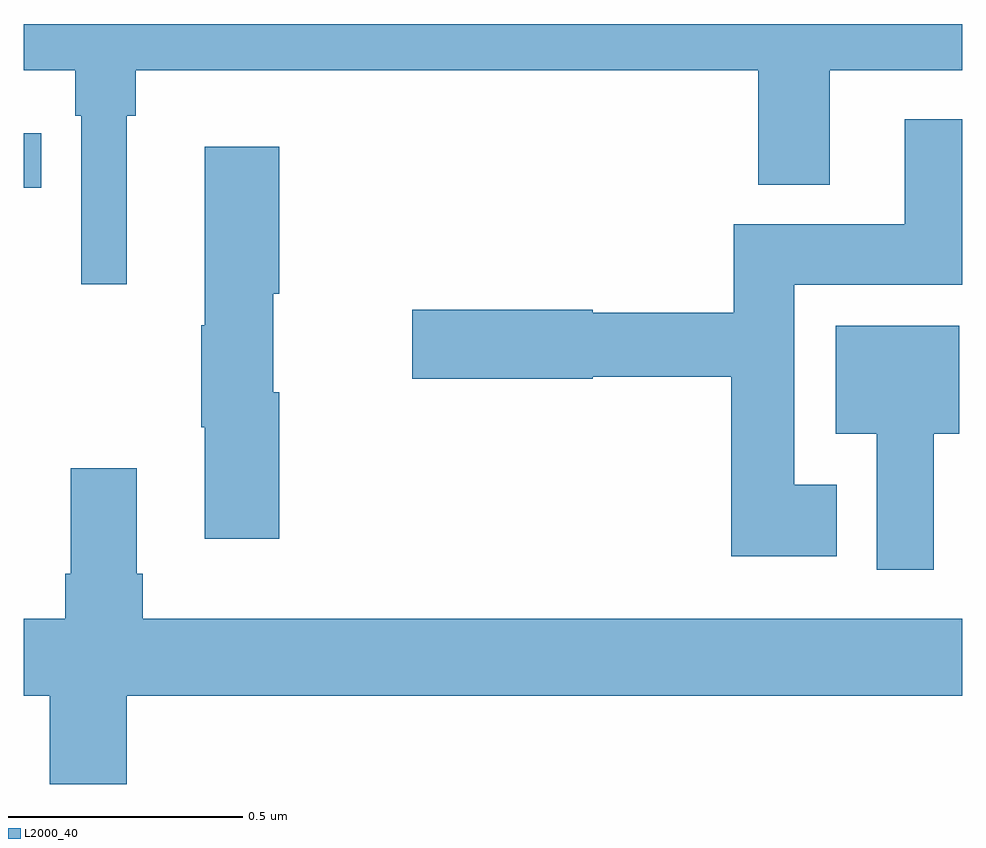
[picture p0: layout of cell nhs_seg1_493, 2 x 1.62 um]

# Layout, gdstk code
import gdstk
lib = gdstk.Library(unit=1e-6, precision=1e-09)
def R(c, l, rs):  # rectangles x0, y0, x1, y1
    for r in rs: c.add(gdstk.rectangle(r[:2], r[2:], *l))
def P(c, l, *ps):  # polygons
    for p in ps: c.add(gdstk.Polygon(p, *l))
L2000_40 = (2000, 40)

nhs_seg1_493 = lib.new_cell('nhs_seg1_493')
R(nhs_seg1_493, L2000_40, [(117,516.85,117.038,516.966)])
P(nhs_seg1_493, L2000_40, [(117.22,517.004),(117.239,517.004),(117.239,517.1),(118.565,517.1),(118.565,516.857),(118.717,516.857),(118.717,517.1),(119,517.1),(119,517.199),(117,517.199),(117,517.1),(117.11,517.1),(117.11,517.004),(117.123,517.004),(117.123,516.645),(117.22,516.645)],
  [(118.732,516.217),(118.642,516.217),(118.642,516.644),(119,516.644),(119,516.996),(118.877,516.996),(118.877,516.772),(118.513,516.772),(118.513,516.584),(118.212,516.584),(118.212,516.59),(117.828,516.59),(117.828,516.443),(118.212,516.443),(118.212,516.448),(118.508,516.448),(118.508,516.065),(118.732,516.065)],
  [(117.545,516.414),(117.532,516.414),(117.532,516.624),(117.545,516.624),(117.545,516.937),(117.386,516.937),(117.386,516.557),(117.379,516.557),(117.379,516.34),(117.386,516.34),(117.386,516.102),(117.545,516.102)],
  [(118.939,516.326),(118.993,516.326),(118.993,516.556),(118.73,516.556),(118.73,516.326),(118.817,516.326),(118.817,516.036),(118.939,516.036)],
  [(117.22,515.768),(119,515.768),(119,515.932),(117.254,515.932),(117.254,516.028),(117.241,516.028),(117.241,516.253),(117.101,516.253),(117.101,516.028),(117.089,516.028),(117.089,515.932),(117,515.932),(117,515.768),(117.056,515.768),(117.056,515.58),(117.22,515.58)])

lib.write_gds('nhs_seg1_493.gds')
